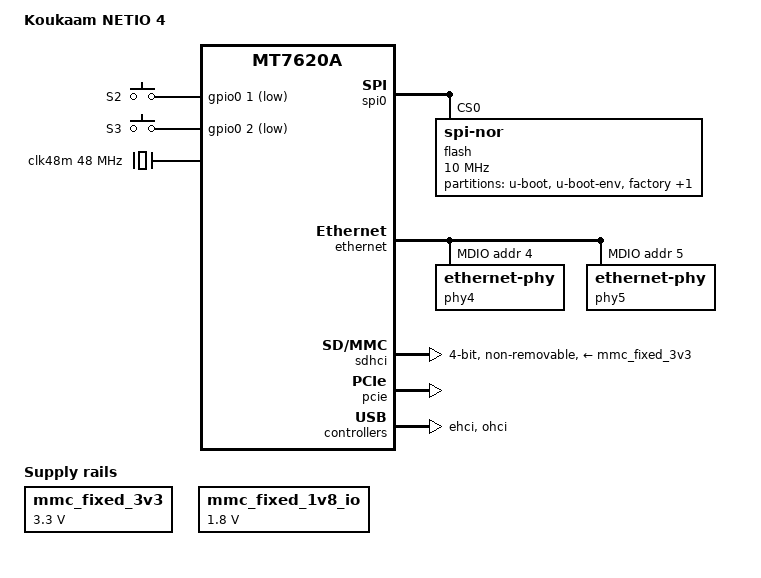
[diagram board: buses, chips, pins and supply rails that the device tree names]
#include "mt7620a.dtsi"

#include <dt-bindings/gpio/gpio.h>
#include <dt-bindings/input/input.h>

/ {
	compatible = "ralink,mt7620a-evb", "ralink,mt7620a-soc";
	model = "Koukaam NETIO 4";

	keys {
		compatible = "gpio-keys";

		s2 {
			label = "S2";
			gpios = <&gpio0 1 GPIO_ACTIVE_LOW>;
			linux,code = <BTN_0>;
		};

		s3 {
			label = "S3";
			gpios = <&gpio0 2 GPIO_ACTIVE_LOW>;
			linux,code = <BTN_1>;
		};
	};

        mmc_fixed_3v3: fixedregulator@0 {
            compatible = "regulator-fixed";
            regulator-name = "mmc_power";
            regulator-min-microvolt = <3300000>;
            regulator-max-microvolt = <3300000>;
            enable-active-high;
            regulator-always-on;
        };

        mmc_fixed_1v8_io: fixedregulator@1 {
            compatible = "regulator-fixed";
            regulator-name = "mmc_io";
            regulator-min-microvolt = <1800000>;
            regulator-max-microvolt = <1800000>;
            enable-active-high;
            regulator-always-on;
        };

        clk48m: clk48m@0 {
            compatible = "fixed-clock";
            clock-frequency = <48000000>;
            #clock-cells = <0>;
        };

};

&spi0 {
	status = "okay";

	flash@0 {
		compatible = "jedec,spi-nor";
		reg = <0>;
		spi-max-frequency = <10000000>;

		partitions {
			compatible = "fixed-partitions";
			#address-cells = <1>;
			#size-cells = <1>;

			partition@0 {
				label = "u-boot";
				reg = <0x0 0x30000>;
				read-only;
			};

			partition@30000 {
				label = "u-boot-env";
				reg = <0x30000 0x10000>;
				read-only;
			};

			factory: partition@40000 {
				label = "factory";
				reg = <0x40000 0x10000>;
				read-only;
			};

			partition@50000 {
				compatible = "denx,uimage";
				label = "firmware";
				reg = <0x50000 0x7b0000>;
			};
		};
	};
};

&state_default {
	gpio {
		groups = "i2c", "uartf";
		function = "gpio";
	};
};

&ethernet {
	pinctrl-names = "default";
	pinctrl-0 = <&rgmii1_pins &rgmii2_pins &mdio_pins>;

	mediatek,portmap = "llllw";

	port@4 {
		status = "okay";
		phy-mode = "rgmii";
		phy-handle = <&phy4>;
	};

	port@5 {
		status = "disabled";
		phy-mode = "rgmii";
		phy-handle = <&phy5>;
	};

	mdio-bus {
		status = "okay";

		phy4: ethernet-phy@4 {
			reg = <4>;
			phy-mode = "rgmii";
		};

		phy5: ethernet-phy@5 {
			reg = <5>;
			phy-mode = "rgmii";
		};
	};
};

&gsw {
	mediatek,port4-gmac;
	mediatek,ephy-base = /bits/ 8 <8>;
};

&sdhci {
    compatible = "mediatek,mt7620-mmc";
    bus-width = <4>;
    non-removable;
    clocks = <&clk48m>, <&sysc 3>;
    clock-names = "source", "hclk";
    status = "okay";
    pinctrl-names = "default", "state_uhs";
    pinctrl-0 = <&sdhci_pins>;
    pinctrl-1 = <>;
    vmmc-supply = <&mmc_fixed_3v3>;
    vqmmc-supply = <&mmc_fixed_3v3>;
    //vqmmc-supply = <&mmc_fixed_1v8_io>;
    //mmc-hs200-1_8v;
    //cap-mmc-highspeed;
    max-frequency = <12000000>;
};

&gdma {
	status = "okay";
};

&pcie {
	status = "okay";
};

&ehci {
	status = "okay";
};

&ohci {
	status = "okay";
};
